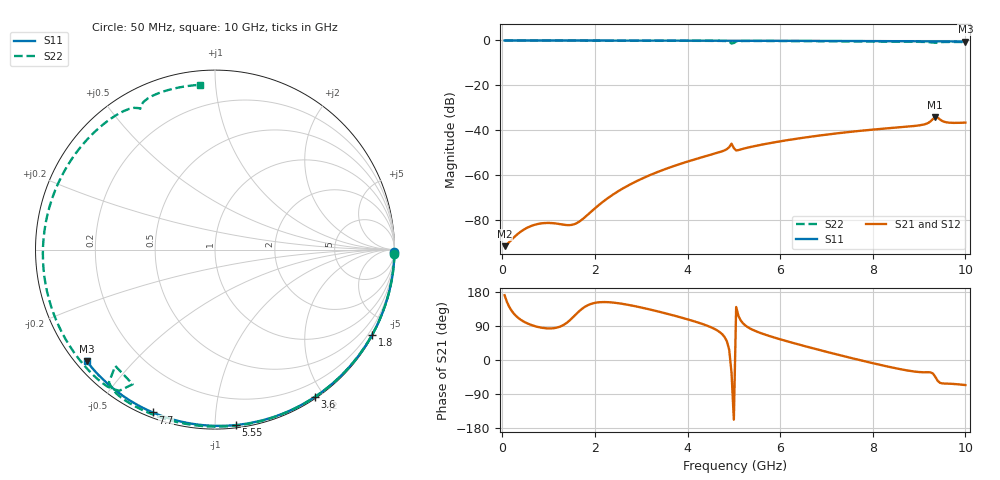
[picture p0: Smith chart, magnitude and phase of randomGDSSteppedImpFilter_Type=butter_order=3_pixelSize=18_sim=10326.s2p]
! freq	dB(S11)	phase(S11)	dB(S12)	phase(S12)
!  dB(S21)	phase(S21)	dB(S22)	phase(S22)
!S-par simulation data
#  GHz  S  DB  R 50
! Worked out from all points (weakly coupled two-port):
!   200 points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, 50 MHz to 10 GHz, reference 50 ohm
!   highest |S21| = -34.11 dB at 9.35 GHz (marker M1); lowest = -91.6 dB at 50 MHz (marker M2)
!   lowest |S11| = -0.5 dB at 10 GHz (marker M3), VSWR 37.04, Z = 1.54 - j18.7 ohm
!   |S11| at or under -10 dB: nowhere
!   |S22| runs from -1.4 to 0.0 dB; largest |S21 - S12| = 0
!   S11 on the Smith chart (normalised r, x): 50 MHz: open; 1.8 GHz: 0.03, -3.93; 3.6 GHz: 0.02, -1.89; 5.55 GHz: 0.02, -1.13; 7.7 GHz: 0.02, -0.69; 10 GHz: 0.03, -0.37
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0.05  -0.00 -0.8  -91.55 170.9  -91.55 170.9  -0.00 -1.4
0.85  -0.02 -13.6  -81.39 85.1  -81.39 85.1  -0.03 -23.2
1.7  -0.03 -27.0  -80.08 133.0  -80.08 133.0  -0.06 -45.8
1.75  -0.04 -27.8  -79.26 137.7  -79.26 137.7  -0.06 -47.1
1.8  -0.04 -28.6  -78.38 141.6  -78.38 141.6  -0.06 -48.4
2.5  -0.05 -39.3  -67.14 150.0  -67.14 150.0  -0.08 -66.4
3.4  -0.07 -52.8  -58.17 127.0  -58.17 127.0  -0.12 -88.8
3.6  -0.08 -55.8  -56.64 120.8  -56.64 120.8  -0.12 -93.7
4.65  -0.10 -70.8  -49.99 77.4  -49.99 77.4  -0.19 -119.6
4.85  -0.11 -73.6  -48.36 49.1  -48.36 49.1  -0.29 -126.0
4.95  -0.12 -75.0  -45.95 -33.6  -45.95 -33.6  -1.37 -130.6
5  -0.12 -75.6  -47.89 -157.5  -47.89 -157.5  -1.12 -121.4
5.05  -0.12 -76.3  -48.96 139.9  -48.96 139.9  -0.45 -124.1
5.2  -0.12 -78.4  -48.21 96.5  -48.21 96.5  -0.24 -130.0
5.55  -0.14 -83.1  -46.58 72.4  -46.58 72.4  -0.23 -139.1
6.7  -0.19 -98.3  -42.72 31.2  -42.72 31.2  -0.32 -167.3
7.7  -0.25 -110.9  -40.28 0.3  -40.28 0.3  -0.42 166.7
8.35  -0.30 -118.9  -39.03 -18.0  -39.03 -18.0  -0.50 148.4
9.1  -0.38 -128.1  -37.43 -32.4  -37.43 -32.4  -0.65 124.9
9.35  -0.40 -131.0  -34.11 -44.3  -34.11 -44.3  -1.03 118.0
9.6  -0.42 -134.1  -36.46 -62.3  -36.46 -62.3  -0.66 110.1
10  -0.47 -138.9  -36.55 -66.2  -36.55 -66.2  -0.71 95.2
